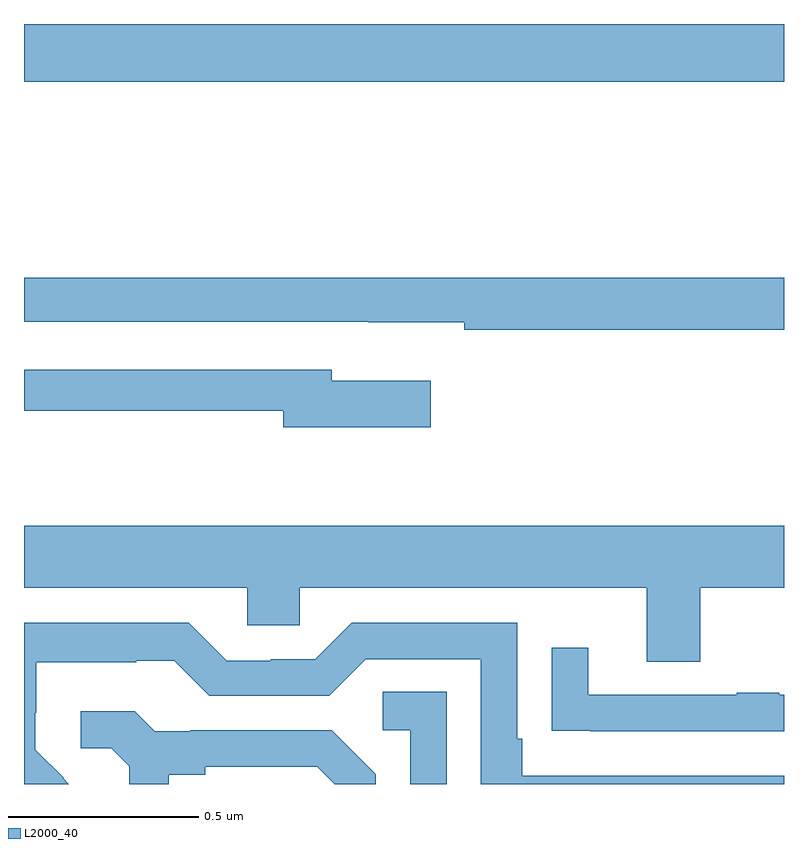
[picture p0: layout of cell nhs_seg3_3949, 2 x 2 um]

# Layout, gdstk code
import gdstk
lib = gdstk.Library(unit=1e-6, precision=1e-09)
def R(c, l, rs):  # rectangles x0, y0, x1, y1
    for r in rs: c.add(gdstk.rectangle(r[:2], r[2:], *l))
def P(c, l, *ps):  # polygons
    for p in ps: c.add(gdstk.Polygon(p, *l))
L2000_40 = (2000, 40)

nhs_seg3_3949 = lib.new_cell('nhs_seg3_3949')
R(nhs_seg3_3949, L2000_40, [(160,702.248,162,702.4)])
P(nhs_seg3_3949, L2000_40, [(162,701.732),(160,701.732),(160,701.616),(160.906,701.616),(160.906,701.615),(161.158,701.615),(161.158,701.596),(162,701.596)],
  [(161.071,701.461),(160.81,701.461),(160.81,701.49),(160,701.49),(160,701.382),(160.682,701.382),(160.682,701.339),(161.071,701.339)],
  [(160,700.916),(160.587,700.916),(160.587,700.818),(160.725,700.818),(160.725,700.916),(161.639,700.916),(161.639,700.722),(161.779,700.722),(161.779,700.916),(162,700.916),(162,701.08),(160,701.08)],
  [(160.103,700.415),(160.104,700.416),(160.03,700.49),(160.03,700.587),(160.032,700.587),(160.032,700.721),(160.295,700.721),(160.295,700.725),(160.395,700.725),(160.488,700.632),(160.803,700.632),(160.899,700.728),(161.202,700.728),(161.202,700.4),(162,700.4),(162,700.422),(161.311,700.422),(161.311,700.519),(161.298,700.519),(161.298,700.824),(160.863,700.824),(160.767,700.728),(160.649,700.728),(160.649,700.725),(160.533,700.725),(160.433,700.825),(160,700.825),(160,700.4),(160.118,700.4)],
  [(162,700.635),(161.987,700.635),(161.987,700.64),(161.875,700.64),(161.875,700.635),(161.485,700.635),(161.485,700.759),(161.389,700.759),(161.389,700.54),(161.491,700.54),(161.491,700.539),(162,700.539)],
  [(161.112,700.643),(160.944,700.643),(160.944,700.542),(161.016,700.542),(161.016,700.4),(161.112,700.4)],
  [(160.381,700.424),(160.477,700.424),(160.477,700.446),(160.772,700.446),(160.818,700.4),(160.926,700.4),(160.926,700.426),(160.81,700.542),(160.438,700.542),(160.438,700.539),(160.344,700.539),(160.292,700.591),(160.149,700.591),(160.149,700.494),(160.23,700.494),(160.277,700.447),(160.277,700.4),(160.381,700.4)])

lib.write_gds('nhs_seg3_3949.gds')
